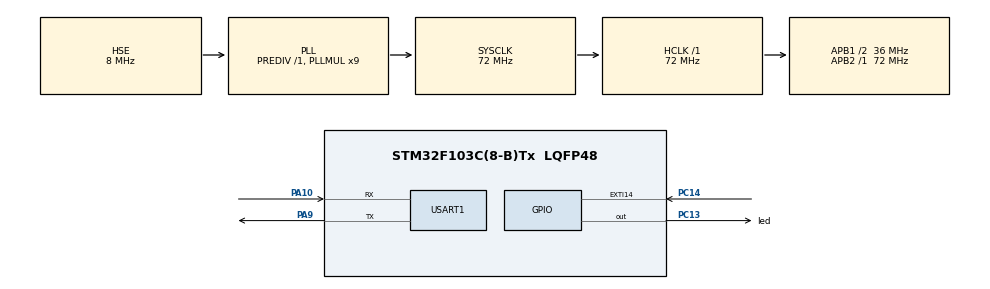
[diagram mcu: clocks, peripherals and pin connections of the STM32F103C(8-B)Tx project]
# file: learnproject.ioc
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Dma.Request0=USART1_TX
Dma.Request1=USART1_RX
Dma.USART1_RX.1.Direction=DMA_PERIPH_TO_MEMORY
Dma.USART1_RX.1.Instance=DMA1_Channel5
Dma.USART1_RX.1.MemDataAlignment=DMA_MDATAALIGN_BYTE
Dma.USART1_RX.1.MemInc=DMA_MINC_ENABLE
Dma.USART1_RX.1.Mode=DMA_NORMAL
Dma.USART1_RX.1.PeriphDataAlignment=DMA_PDATAALIGN_BYTE
Dma.USART1_RX.1.PeriphInc=DMA_PINC_DISABLE
Dma.USART1_RX.1.Priority=DMA_PRIORITY_LOW
Dma.USART1_TX.0.Direction=DMA_MEMORY_TO_PERIPH
Dma.USART1_TX.0.Instance=DMA1_Channel4
Dma.USART1_TX.0.MemDataAlignment=DMA_MDATAALIGN_BYTE
Dma.USART1_TX.0.MemInc=DMA_MINC_ENABLE
Dma.USART1_TX.0.Mode=DMA_NORMAL
Dma.USART1_TX.0.PeriphDataAlignment=DMA_PDATAALIGN_BYTE
Dma.USART1_TX.0.PeriphInc=DMA_PINC_DISABLE
Dma.USART1_TX.0.Priority=DMA_PRIORITY_LOW
Mcu.Family=STM32F1
Mcu.Name=STM32F103C(8-B)Tx
Mcu.Package=LQFP48
NVIC.DMA1_Channel4_IRQn=true\:0\:0\:false\:false\:true\:false\:true\:true
NVIC.DMA1_Channel5_IRQn=true\:0\:0\:false\:false\:true\:false\:true\:true
NVIC.EXTI15_10_IRQn=true\:0\:0\:false\:false\:true\:true\:true\:true
NVIC.PriorityGroup=NVIC_PRIORITYGROUP_4
NVIC.USART1_IRQn=true\:0\:0\:false\:false\:true\:true\:true\:true
PA10.Mode=Asynchronous
PA10.Signal=USART1_RX
PA13.Mode=Serial_Wire
PA13.Signal=SYS_JTMS-SWDIO
PA14.Mode=Serial_Wire
PA14.Signal=SYS_JTCK-SWCLK
PA9.Mode=Asynchronous
PA9.Signal=USART1_TX
PC13-TAMPER-RTC.GPIO_Label=led
PC13-TAMPER-RTC.PinState=GPIO_PIN_RESET
PC13-TAMPER-RTC.Signal=GPIO_Output
PC14-OSC32_IN.GPIO_ModeDefaultEXTI=GPIO_MODE_IT_FALLING
PC14-OSC32_IN.Signal=GPXTI14
PD0-OSC_IN.Mode=HSE-External-Oscillator
PD0-OSC_IN.Signal=RCC_OSC_IN
PD1-OSC_OUT.Mode=HSE-External-Oscillator
PD1-OSC_OUT.Signal=RCC_OSC_OUT
ProjectManager.HeapSize=0x200
ProjectManager.StackSize=0x400
ProjectManager.TargetToolchain=STM32CubeIDE
RCC.AHBFreq_Value=72000000
RCC.APB1CLKDivider=RCC_HCLK_DIV2
RCC.APB1Freq_Value=36000000
RCC.APB1TimFreq_Value=72000000
RCC.APB2Freq_Value=72000000
RCC.APB2TimFreq_Value=72000000
RCC.HCLKFreq_Value=72000000
RCC.PLLMUL=RCC_PLL_MUL9
RCC.PLLSourceVirtual=RCC_PLLSOURCE_HSE
RCC.SYSCLKFreq_VALUE=72000000
RCC.SYSCLKSource=RCC_SYSCLKSOURCE_PLLCLK
RCC.USBFreq_Value=72000000
TIM4.Prescaler=7199
USART1.VirtualMode=VM_ASYNC
VP_TIM4_VS_ClockSourceINT.Mode=Internal
board=custom

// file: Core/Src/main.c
/* USER CODE BEGIN Header */
/**
  ******************************************************************************
  * @file           : main.c
  * @brief          : Main program body
  ******************************************************************************
  * @attention
  *
  * Copyright (c) 2025 STMicroelectronics.
  * All rights reserved.
  *
  * This software is licensed under terms that can be found in the LICENSE file
  * in the root directory of this software component.
  * If no LICENSE file comes with this software, it is provided AS-IS.
  *
  ******************************************************************************
  */
/* USER CODE END Header */
#include "main.h"
#include "dma.h"
#include "tim.h"
#include "usart.h"
#include "gpio.h"

/* USER CODE BEGIN Includes */
#include <string.h>
#include<stdio.h>
/* USER CODE END Includes */

/* USER CODE BEGIN PTD */
uint8_t receiveData[200];
/* USER CODE END PTD */

void SystemClock_Config(void);

/* USER CODE BEGIN 0 */

/*小灯闪烁任务*/
void led_blink(void){
	while(1){
		HAL_GPIO_WritePin(led_GPIO_Port, led_Pin, SET);
		HAL_Delay(1000);
		HAL_GPIO_WritePin(led_GPIO_Port,led_Pin, RESET);
		HAL_Delay(1000);
	}
}

// 串口接受完成中断回调函数
void HAL_UART_RxCpltCallback(UART_HandleTypeDef *huart)
{

	GPIO_PinState state = GPIO_PIN_SET;
	HAL_UART_Transmit_DMA(&huart1, receiveData, 2);
	if (receiveData[1] == '0')
    {
	  state = GPIO_PIN_RESET;
	}
	if (receiveData[1] == '1')
	{
	  state = GPIO_PIN_SET;
	}

	HAL_GPIO_WritePin(led_GPIO_Port, led_Pin, state);
    HAL_UART_Receive_DMA(&huart1, receiveData, 2);
}

//串口接法任务
void uart(void){
	//char message[] = "Hello world";
	uint8_t receivedata[2];
	while(1){
		HAL_UART_Receive(&huart1, receivedata, 2, HAL_MAX_DELAY);
		HAL_UART_Transmit(&huart1, receivedata, 2, 100);
		HAL_Delay(1000);

		GPIO_PinState state = GPIO_PIN_SET;
		if (receivedata[1] == '0')
		{
		  state = GPIO_PIN_RESET;
		}
		if (receivedata[1] == '1')
		{
		  state = GPIO_PIN_SET;
		}

		HAL_GPIO_WritePin(led_GPIO_Port, led_Pin, state);
	}
}

//空闲中断回调函数
//void HAL_UARTEx_RxEventCallback(UART_HandleTypeDef *huart, uint16_t Size){
//	if(huart == &huart1){
//		HAL_UART_Transmit_DMA(huart, receiveData, Size);
//
//		HAL_UARTEx_ReceiveToIdle_DMA(huart, receiveData, sizeof(receiveData));
//		__HAL_DMA_DISABLE_IT(&hdma_usart1_rx, DMA_IT_HT);
//	}
//}

//3.  串口与中断
void uart_it(void){
	  HAL_UART_Receive_IT(&huart1, receiveData, 2);
	  while(1){
		  HAL_Delay(1000);
	  }
}

//4.  串口DMA与收发不定长数据
void uart_dma(void){
	HAL_UART_Receive_DMA(&huart1, receiveData, 2);
	while(1){
		  HAL_Delay(1000);
	}
}

//5.   空闲中断
void uart_time(void){
	  HAL_UARTEx_ReceiveToIdle_DMA(&huart1, receiveData, sizeof(receiveData));
	  __HAL_DMA_DISABLE_IT(&hdma_usart1_rx,DMA_IT_HT);
	  while(1){
		  HAL_Delay(1000);
	  }
}

//6.   定时器
void uart_time_start(void){
	  HAL_TIM_Base_Start(&htim4);
	  int counter =0;
	  char message[20];
	  while(1){
		  counter = __HAL_TIM_GET_COUNTER(&htim4);
		  sprintf(message,"counter:%d",counter);
		  HAL_UART_Transmit(&huart1, (uint8_t*)message, strlen(message),1000);
		  HAL_Delay(1000);
	  }
}

//7.   解析数据包
void HAL_UARTEx_RxEventCallback(UART_HandleTypeDef *huart, uint16_t Size){
	char message1[] = "乖";
	char message2[] = "超级乖";
	char message3[] = "今天宝宝睡觉";
	char message4[] = "今天宝宝吃饭";
	char message5[] = "今天宝宝学习";
	if(huart == &huart1)
	{
		HAL_UART_Transmit_DMA(&huart1, receiveData, Size);

		if(receiveData[0] == 0xAA)
		{
			HAL_UART_Transmit(&huart1, (uint8_t*)"报文头ok\r\n", strlen("报文头ok\r\n"),100);
			uint8_t sum = 0;
			for (int i = 0; i < Size - 1; i++)
			{
			    sum += receiveData[i];
			}
			if (sum == receiveData[Size - 1])
			{
				for(int i = 3;i < Size - 1; i  += 2)
				{
					if(receiveData[i] == 0x00)
					{
						HAL_UART_Transmit(&huart1, (uint8_t*)message1, strlen(message1),100);
						HAL_Delay(1000);
					}
					else if(receiveData[i] == 0x00)
					{
						HAL_UART_Transmit(&huart1, (uint8_t*)message2, strlen(message1),100);
						HAL_Delay(1000);
					}
					if(receiveData[i + 1] == 0x01)
					{
						HAL_UART_Transmit(&huart1, (uint8_t*)message3, strlen(message1),100);
						HAL_Delay(1000);
					}
					else if(receiveData[i + 1] == 0x02)
					{
						HAL_UART_Transmit(&huart1, (uint8_t*)message4, strlen(message1),100);
						HAL_Delay(1000);
					}
					else if(receiveData[i + 1] == 0x03)
					{
						HAL_UART_Transmit(&huart1, (uint8_t*)message5, strlen(message1),100);
						HAL_Delay(1000);
					}
				}
			}
			else
				HAL_UART_Transmit(&huart1, (uint8_t*)"校验位错误\r\n", strlen("校验位错误\r\n"),100);
		}
		else
			HAL_UART_Transmit(&huart1, (uint8_t*)"报文头错误\r\n", strlen("报文头错误\r\n"),100);

		HAL_UARTEx_ReceiveToIdle_DMA(&huart1, receiveData, 200);
		__HAL_DMA_DISABLE_IT(&hdma_usart1_rx,DMA_IT_HT);
	}
}
/* USER CODE END 0 */

int main(void)
{

  /* MCU Configuration--------------------------------------------------------*/

  /* Reset of all peripherals, Initializes the Flash interface and the Systick. */
  HAL_Init();

  /* Configure the system clock */
  SystemClock_Config();

  /* Initialize all configured peripherals */
  MX_GPIO_Init();
  MX_DMA_Init();
  MX_USART1_UART_Init();
  MX_TIM4_Init();
  /* USER CODE BEGIN 2 */
  HAL_UART_Transmit(&huart1, (uint8_t*)"system start\r\n", 20,100);
  /* USER CODE END 2 */

  /* Infinite loop */
  /* USER CODE BEGIN WHILE */

  // 1. 小灯闪烁
//  led_blink();

  // 2. 串口
 //uart();

  //3.  串口与中断
 //uart_it();

  //4.  串口DMA与收发不定长数据
 //uart_dma();

  //5.   空闲中断
//uart_time();

  //6.   定时器
 //uart_time_start();

  //7.   报文协议练习
  HAL_UARTEx_ReceiveToIdle_DMA(&huart1, receiveData, 200);
   __HAL_DMA_DISABLE_IT(&hdma_usart1_rx,DMA_IT_HT);
  while(1){
	  HAL_Delay(1000);
  }

    /* USER CODE END WHILE */

}

void SystemClock_Config(void)
{
  RCC_OscInitTypeDef RCC_OscInitStruct = {0};
  RCC_ClkInitTypeDef RCC_ClkInitStruct = {0};

  /** Initializes the RCC Oscillators according to the specified parameters
  * in the RCC_OscInitTypeDef structure.
  */
  RCC_OscInitStruct.OscillatorType = RCC_OSCILLATORTYPE_HSE;
  RCC_OscInitStruct.HSEState = RCC_HSE_ON;
  RCC_OscInitStruct.HSEPredivValue = RCC_HSE_PREDIV_DIV1;
  RCC_OscInitStruct.HSIState = RCC_HSI_ON;
  RCC_OscInitStruct.PLL.PLLState = RCC_PLL_ON;
  RCC_OscInitStruct.PLL.PLLSource = RCC_PLLSOURCE_HSE;
  RCC_OscInitStruct.PLL.PLLMUL = RCC_PLL_MUL9;
  if (HAL_RCC_OscConfig(&RCC_OscInitStruct) != HAL_OK)
  {
    Error_Handler();
  }

  /** Initializes the CPU, AHB and APB buses clocks
  */
  RCC_ClkInitStruct.ClockType = RCC_CLOCKTYPE_HCLK|RCC_CLOCKTYPE_SYSCLK
                              |RCC_CLOCKTYPE_PCLK1|RCC_CLOCKTYPE_PCLK2;
  RCC_ClkInitStruct.SYSCLKSource = RCC_SYSCLKSOURCE_PLLCLK;
  RCC_ClkInitStruct.AHBCLKDivider = RCC_SYSCLK_DIV1;
  RCC_ClkInitStruct.APB1CLKDivider = RCC_HCLK_DIV2;
  RCC_ClkInitStruct.APB2CLKDivider = RCC_HCLK_DIV1;

  if (HAL_RCC_ClockConfig(&RCC_ClkInitStruct, FLASH_LATENCY_2) != HAL_OK)
  {
    Error_Handler();
  }
}

void Error_Handler(void)
{
  __disable_irq();
  while (1)
  {
  }
}
